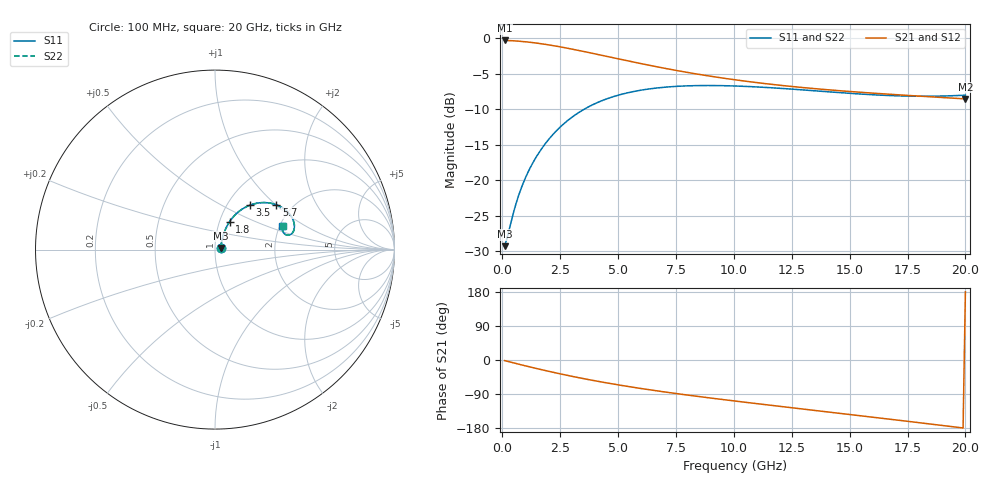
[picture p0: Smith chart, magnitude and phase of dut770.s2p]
! Touchstone file exported from HFSS 2024.1.0
!  File:  C:/UserFiles/LocalFiles/RDL_TSV_Batchsim/temp_RDL_TSV_770_1779902573.aedt
!  Generated:  01:38:56 AM May 28, 2026
!  Design:  RDL_TSV
!  Project:  temp_RDL_TSV_770_1779902573
!  Setup:  Setup1
!  Solution:  Sweep
! Variables:
!  dtsv = 7.03um
!  hbump = 3um
!  htsv = 53.15um
!  ldown = 236.17um
!  lrdl = 499.8um
!  p = 40
!  p1 = 54.99um
!  rhole = 10um
!  subl = 2707.71um
!  t = 450um
!  tdown = 2.1um
!  trdl = 2.18um
!  viad = 10um
!  wdown = 18.2um
!  wrdl = 12.15um
!  xbump = 18um
# GHz S MA R 50.000000
! Terminal data exported
! Port[1] = TM1_1_T1
! Port[2] = TM1_4_T1
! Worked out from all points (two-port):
!   200 points, 100 MHz to 20 GHz, reference 50 ohm
!   highest |S21| = -0.29 dB at 100 MHz (marker M1); lowest = -8.5 dB at 20 GHz (marker M2)
!   |S21| within 3 dB of the highest: start of sweep to 5.601 GHz
!   lowest |S11| = -29.3 dB at 100 MHz (marker M3), VSWR 1.07, Z = 53.4 + j1.04 ohm
!   |S11| at or under -10 dB: start of sweep to 3.53 GHz
!   |S22| runs from -29.3 to -6.6 dB; largest |S21 - S12| = 1e-14
!   S11 on the Smith chart (normalised r, x): 100 MHz: 1.07, +0.02; 1.8 GHz: 1.12, +0.36; 3.5 GHz: 1.27, +0.70; 5.7 GHz: 1.66, +1.01; 20 GHz: 2.07, +0.64
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0.1  0.03431 16.4  0.967 -1.6  0.967 -1.6  0.03431 16.4
! Gamma 0 0 0 0
! Port Impedance 50 0 50 0
0.2  0.03875 30.0  0.9663 -3.2  0.9663 -3.2  0.03875 30.0
0.4  0.05254 46.7  0.9633 -6.3  0.9633 -6.3  0.05254 46.7
0.6  0.06903 54.9  0.9589 -9.4  0.9589 -9.4  0.06903 54.9
0.9  0.09519 60.4  0.95 -14.0  0.95 -14.0  0.09519 60.4
1.3  0.131 62.8  0.9347 -19.9  0.9347 -19.9  0.1309 62.8
1.8  0.176 62.4  0.9109 -27.1  0.9109 -27.1  0.176 62.4
2.2  0.2114 60.7  0.8891 -32.6  0.8891 -32.6  0.2114 60.7
2.6  0.2455 58.3  0.8657 -37.9  0.8657 -37.9  0.2454 58.3
3  0.2776 55.6  0.8411 -43.0  0.8411 -43.0  0.2776 55.6
3.5  0.3142 51.9  0.8097 -49.1  0.8097 -49.1  0.3142 51.9
4.5  0.3742 44.4  0.7477 -60.3  0.7477 -60.3  0.3742 44.4
5.7  0.4231 36.2  0.6793 -72.5  0.6793 -72.5  0.4232 36.2
6.8  0.4494 29.7  0.625 -82.5  0.625 -82.5  0.4495 29.8
8.3  0.4644 22.7  0.5644 -94.9  0.5644 -94.9  0.4646 22.7
10.1  0.4616 16.6  0.5093 -108.7  0.5093 -108.7  0.4618 16.6
11.7  0.448 13.0  0.473 -120.3  0.473 -120.3  0.4483 13.1
13.4  0.4284 11.2  0.4437 -132.4  0.4437 -132.4  0.4288 11.2
15.1  0.4089 11.3  0.4212 -144.5  0.4212 -144.5  0.4093 11.3
16.7  0.3955 13.1  0.4041 -156.0  0.4041 -156.0  0.3959 13.0
18.4  0.391 16.1  0.3882 -168.3  0.3882 -168.3  0.3914 16.0
20  0.3979 19.2  0.3745 179.9  0.3745 179.9  0.3983 19.1
